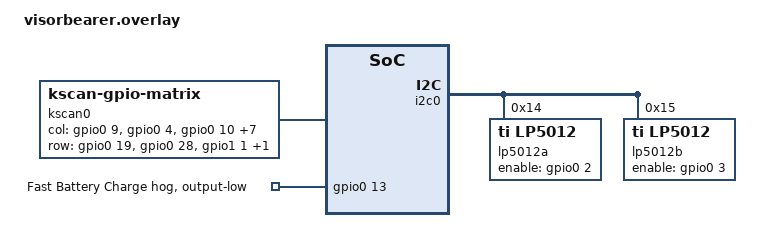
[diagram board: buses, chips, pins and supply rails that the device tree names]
#include <dt-bindings/zmk/matrix_transform.h>
#include <zephyr/dt-bindings/led/led.h>
#include "visorbearer-layouts.dtsi"

/ {
   chosen {
      zmk,kscan = &kscan0;
      zmk,physical-layout = &visorbearer_33332_layout;
   };

   kscan0: kscan0 {
      compatible = "zmk,kscan-gpio-matrix";
      diode-direction = "col2row";
      wakeup-source;

      col-gpios
         = <&gpio0 9 GPIO_ACTIVE_HIGH>
         , <&gpio0 4 GPIO_ACTIVE_HIGH>
         , <&gpio0 10 GPIO_ACTIVE_HIGH>
         , <&gpio0 5 GPIO_ACTIVE_HIGH>
         , <&gpio1 11 GPIO_ACTIVE_HIGH>
         , <&gpio1 12 GPIO_ACTIVE_HIGH>
         , <&gpio1 3 GPIO_ACTIVE_HIGH>
         , <&gpio1 13 GPIO_ACTIVE_HIGH>
         , <&gpio1 5 GPIO_ACTIVE_HIGH>
         , <&gpio1 14 GPIO_ACTIVE_HIGH>
         ;

      row-gpios
         = <&gpio0 19 (GPIO_ACTIVE_HIGH | GPIO_PULL_DOWN)>
         , <&gpio0 28 (GPIO_ACTIVE_HIGH | GPIO_PULL_DOWN)>
         , <&gpio1 1 (GPIO_ACTIVE_HIGH | GPIO_PULL_DOWN)>
         , <&gpio0 29 (GPIO_ACTIVE_HIGH | GPIO_PULL_DOWN)>
         ;
   };
};

&i2c0 {
   status = "okay";

   lp5012a:lp5012a@14 {
      status = "okay";
      compatible = "ti,lp5012";
      reg = <0x14>;
      enable-gpios = <&gpio0 2 GPIO_ACTIVE_HIGH>;
      // log_scale_en;

      led_a0 {
         label = "LED A0";
			index = <0>;
			color-mapping =
				<LED_COLOR_ID_RED>,
				<LED_COLOR_ID_GREEN>,
				<LED_COLOR_ID_BLUE>;
		};
		led_a1 {
         label = "LED A1";
			index = <1>;
			color-mapping =
            <LED_COLOR_ID_RED>,
            <LED_COLOR_ID_GREEN>,
            <LED_COLOR_ID_BLUE>;
		};
		led_a2 {
         label = "LED A2";
			index = <2>;
			color-mapping =
            <LED_COLOR_ID_RED>,
            <LED_COLOR_ID_GREEN>,
            <LED_COLOR_ID_BLUE>;
		};
		led_a3 {
         label = "LED A3";
			index = <3>;
			color-mapping =
            <LED_COLOR_ID_RED>,
            <LED_COLOR_ID_GREEN>,
            <LED_COLOR_ID_BLUE>;
		};
   };

   lp5012b:lp5012b@15 {
      status = "okay";
      compatible = "ti,lp5012";
      reg = <0x15>;
      enable-gpios = <&gpio0 3 GPIO_ACTIVE_HIGH>;
      // log_scale_en;

      led_b0 {
         label = "LED B0";
			index = <0>;
			color-mapping =
            <LED_COLOR_ID_RED>,
            <LED_COLOR_ID_GREEN>,
            <LED_COLOR_ID_BLUE>;
		};
		led_b1 {
         label = "LED B1";
			index = <1>;
			color-mapping =
            <LED_COLOR_ID_RED>,
            <LED_COLOR_ID_GREEN>,
            <LED_COLOR_ID_BLUE>;
		};
		led_b2 {
         label = "LED B2";
			index = <2>;
			color-mapping =
            <LED_COLOR_ID_RED>,
            <LED_COLOR_ID_GREEN>,
            <LED_COLOR_ID_BLUE>;
		};
		led_b3 {
         label = "LED B3";
			index = <3>;
			color-mapping =
            <LED_COLOR_ID_RED>,
            <LED_COLOR_ID_GREEN>,
            <LED_COLOR_ID_BLUE>;
		};
   };
};

// set 100mA battery charge current
&gpio0 {
   fastbatcharge: fast-battery-charge {
      gpio-hog;
      gpios = <13 GPIO_ACTIVE_HIGH>;
      output-low;
      line-name = "Fast Battery Charge";
   };
};

&uicr {
   nfct-pins-as-gpios;
};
